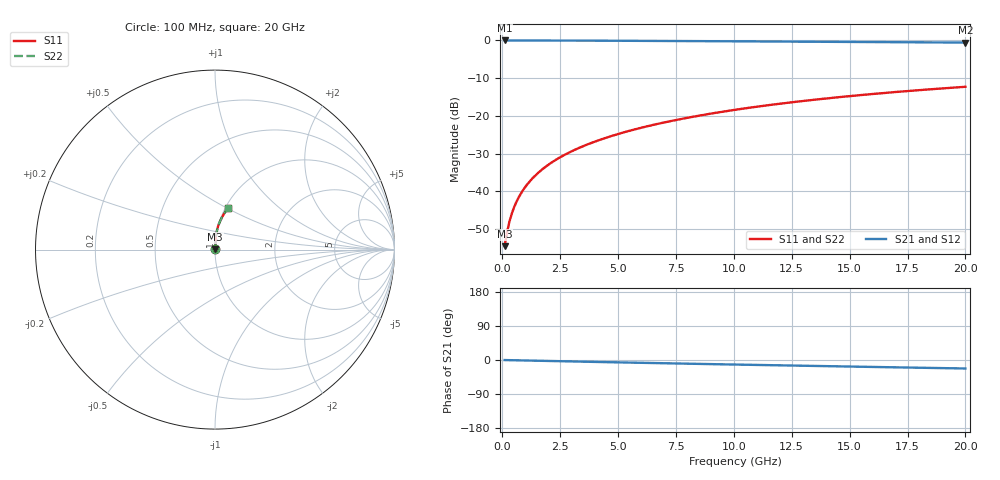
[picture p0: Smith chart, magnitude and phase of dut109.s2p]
! Touchstone file exported from HFSS 2024.1.0
!  File:  C:/UserFiles/LocalFiles/RDL_TSV_Batchsim/temp_RDL_bottom_109_1778695532.aedt
!  Generated:  02:08:26 AM May 14, 2026
!  Design:  RDL_bottom
!  Project:  temp_RDL_bottom_109_1778695532
!  Setup:  Setup1
!  Solution:  Sweep
! Variables:
!  dtsv = 10.80580581um
!  hbump = 3um
!  htsv = 90.01um
!  ldown = 282.17um
!  lrdl = 100um
!  p = 40
!  p1 = 50.45um
!  rhole = 1um
!  t = 450um
!  tdown = 3.92um
!  trdl = 3.915915916um
!  wdown = 20.36um
!  wrdl = 20um
# GHz S MA R 50.000000
! Terminal data exported
! Port[1] = RDL1_T1
! Port[2] = RDL1_T2
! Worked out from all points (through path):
!   200 points, 100 MHz to 20 GHz, reference 50 ohm
!   highest |S21| = -0.01 dB at 100 MHz (marker M1); lowest = -0.6 dB at 20 GHz (marker M2)
!   group delay of S21, straight-line fit = 3.09 ps
!   lowest |S11| = -54.5 dB at 100 MHz (marker M3), VSWR 1.00, Z = 50.1 + j0.121 ohm
!   |S11| at or under -10 dB: start of sweep to end of sweep
!   |S22| runs from -54.5 to -12.3 dB; largest |S21 - S12| = 2.5e-15
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0.1  0.001875 40.0  0.9986 -0.1  0.9986 -0.1  0.001875 40.0
! Gamma 0 0 0 0
! Port Impedance 50 0 50 0
0.2  0.002815 58.2  0.9985 -0.3  0.9985 -0.3  0.002815 58.2
0.3  0.003873 66.6  0.9984 -0.4  0.9984 -0.4  0.003874 66.6
0.4  0.004956 71.2  0.9983 -0.5  0.9983 -0.5  0.004956 71.2
0.5  0.006043 74.2  0.9983 -0.7  0.9983 -0.7  0.006043 74.2
0.6  0.00713 76.3  0.9982 -0.8  0.9982 -0.8  0.00713 76.3
0.8  0.009309 79.2  0.998 -1.0  0.998 -1.0  0.00931 79.2
1.1  0.0126 81.8  0.9978 -1.4  0.9978 -1.4  0.0126 81.8
1.5  0.01703 83.8  0.9974 -1.9  0.9974 -1.9  0.01703 83.8
1.8  0.02037 84.7  0.997 -2.3  0.997 -2.3  0.02037 84.7
2.1  0.02374 85.3  0.9965 -2.7  0.9965 -2.7  0.02374 85.3
2.7  0.03055 86.1  0.9955 -3.5  0.9955 -3.5  0.03055 86.1
3.5  0.03976 86.6  0.9937 -4.4  0.9937 -4.4  0.03976 86.6
4.2  0.04796 86.7  0.992 -5.3  0.992 -5.3  0.04796 86.7
5  0.05747 86.6  0.9897 -6.3  0.9897 -6.3  0.05747 86.6
5.9  0.06837 86.3  0.987 -7.3  0.987 -7.3  0.06836 86.3
6.8  0.07943 85.9  0.984 -8.4  0.984 -8.4  0.07943 85.8
8.4  0.09942 84.7  0.9786 -10.2  0.9786 -10.2  0.09941 84.7
10.1  0.1209 83.2  0.9727 -12.1  0.9727 -12.1  0.1209 83.2
13.4  0.1627 79.7  0.9609 -15.6  0.9609 -15.6  0.1627 79.7
16.7  0.2036 76.1  0.9488 -19.1  0.9488 -19.1  0.2035 76.1
20  0.2429 72.4  0.9362 -22.4  0.9362 -22.4  0.2429 72.4
